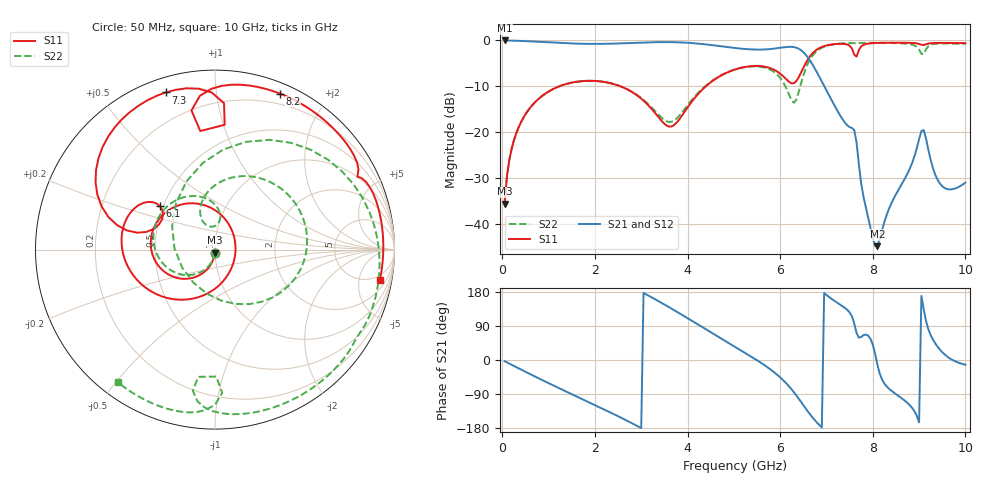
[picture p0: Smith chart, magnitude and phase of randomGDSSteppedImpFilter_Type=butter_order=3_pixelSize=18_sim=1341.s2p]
! freq	dB(S11)	phase(S11)	dB(S12)	phase(S12)
!  dB(S21)	phase(S21)	dB(S22)	phase(S22)
!S-par simulation data
#  GHz  S  DB  R 50
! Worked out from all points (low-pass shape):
!   200 points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, 50 MHz to 10 GHz, reference 50 ohm
!   highest |S21| = -0.01 dB at 50 MHz (marker M1); lowest = -44.9 dB at 8.1 GHz (marker M2)
!   |S21| within 3 dB of the highest: start of sweep to 6.542 GHz
!   lowest |S11| = -35.7 dB at 50 MHz (marker M3), VSWR 1.03, Z = 49.9 - j1.64 ohm
!   |S11| at or under -10 dB: start of sweep to 1.236 GHz; 2.544 GHz to 4.398 GHz (1.855 GHz wide, 53.4 % of centre)
!   |S22| runs from -35.7 to -0.5 dB; largest |S21 - S12| = 0
!   S11 on the Smith chart (normalised r, x): 50 MHz: 1.00, -0.03; 6.1 GHz: 0.48, +0.27; 7.3 GHz: 0.07, +0.73; 8.2 GHz: 0.10, +1.49; 10 GHz: 4, -10
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0.05  -35.66 -92.2  -0.01 -3.2  -0.01 -3.2  -35.67 -92.7
0.2  -23.75 -101.7  -0.04 -12.6  -0.04 -12.6  -23.76 -103.7
0.5  -16.14 -119.1  -0.15 -31.1  -0.15 -31.1  -16.15 -124.0
1.75  -8.87 173.3  -0.74 -104.4  -0.74 -104.4  -8.88 156.9
2.7  -10.70 117.7  -0.60 -160.6  -0.60 -160.6  -10.66 101.2
3.4  -17.10 46.2  -0.37 153.4  -0.37 153.4  -16.49 82.7
4.2  -12.03 -100.5  -0.67 95.7  -0.67 95.7  -11.76 107.9
5.05  -6.28 -165.5  -1.69 33.2  -1.69 33.2  -6.26 50.6
5.65  -5.71 158.5  -1.98 -12.7  -1.98 -12.7  -5.90 -2.5
6.1  -8.17 141.8  -1.47 -57.4  -1.47 -57.4  -9.78 -69.0
6.4  -8.07 165.6  -1.81 -101.9  -1.81 -101.9  -11.29 151.3
6.7  -2.81 155.0  -5.28 -151.8  -5.28 -151.8  -3.32 63.7
6.95  -1.25 133.4  -9.94 176.7  -9.94 176.7  -1.38 25.2
7.3  -0.75 107.4  -16.46 145.7  -16.46 145.7  -0.67 -8.8
7.6  -3.13 85.6  -19.61 96.4  -19.61 96.4  -0.62 -29.7
7.7  -2.09 99.6  -27.08 59.0  -27.08 59.0  -0.59 -34.9
8.1  -0.55 72.6  -44.94 -12.1  -44.94 -12.1  -0.51 -55.9
8.2  -0.52 67.4  -41.48 -51.6  -41.48 -51.6  -0.52 -60.6
8.35  -0.50 60.0  -36.78 -75.7  -36.78 -75.7  -0.55 -67.5
9.1  -1.01 27.1  -19.57 134.1  -19.57 134.1  -3.01 -89.4
9.45  -0.54 12.5  -31.27 27.5  -31.27 27.5  -0.68 -104.2
10  -0.59 -10.4  -31.06 -12.7  -31.06 -12.7  -0.76 -126.2
